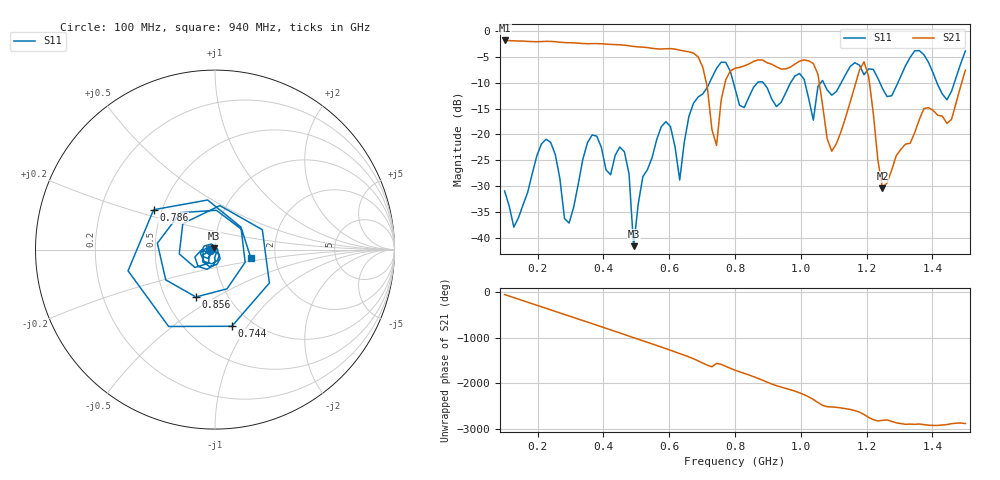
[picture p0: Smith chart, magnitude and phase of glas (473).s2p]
! NanoVNA-App
! Date: 2025-09-25 15:59:09
! Start: 100MHz Stop: 1,5GHz Points: 101
! S-Parameter data: F S11 S21 S12 S22
# Hz S RI R 50
!  Frequency  S11_Real  S11_Imag  S21_Real  S21_Imag  S12_Real  S12_Imag  S22_Real  S22_Imag
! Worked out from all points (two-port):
!   101 points, 100 MHz to 1.5 GHz, reference 50 ohm
!   highest |S21| = -1.80 dB at 100 MHz (marker M1); lowest = -30.4 dB at 1.248 GHz (marker M2)
!   |S21| within 3 dB of the highest: start of sweep to 684.5 MHz
!   lowest |S11| = -41.6 dB at 492 MHz (marker M3), VSWR 1.02, Z = 49.5 + j0.619 ohm
!   |S11| at or under -10 dB: start of sweep to 722.4 MHz; 795.4 MHz to 867.9 MHz (72.49 MHz wide, 8.72 % of centre); 886.2 MHz to 968.7 MHz (82.48 MHz wide, 8.89 % of centre) (the widest 3 of 7)
!   S12 and S22 are empty: the file has one direction only
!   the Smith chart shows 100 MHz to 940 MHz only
!   S11 on the Smith chart (normalised r, x): 100 MHz: 0.95, -0.01; 744 MHz: 0.81, -0.85; 786 MHz: 0.45, +0.24; 856 MHz: 0.71, -0.41; 940 MHz: 1.49, -0.14
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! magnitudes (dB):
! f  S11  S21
! 100 MHz  -30.9  -1.8
! 128 MHz  -37.9  -1.9
! 226 MHz  -20.9  -2.0
! 296 MHz  -37.1  -2.2
! 338 MHz  -24.7  -2.4
! 464 MHz  -23.4  -2.7
! 492 MHz  -41.6  -3.0
! 576 MHz  -18.5  -3.5
! 632 MHz  -28.8  -3.7
! 702 MHz  -12.2  -6.9
! 744 MHz  -7.2  -22.1
! 786 MHz  -7.8  -7.7
! 800 MHz  -11.1  -7.2
! 856 MHz  -10.9  -5.9
! 940 MHz  -13.8  -7.3
! 996 MHz  -8.2  -5.8
! 1.038 GHz  -17.2  -6.3
! 1.094 GHz  -12.4  -23.2
! 1.192 GHz  -8.4  -5.9
! 1.248 GHz  -11.1  -30.4
! 1.276 GHz  -12.5  -26.9
! 1.5 GHz  -3.8  -7.5
